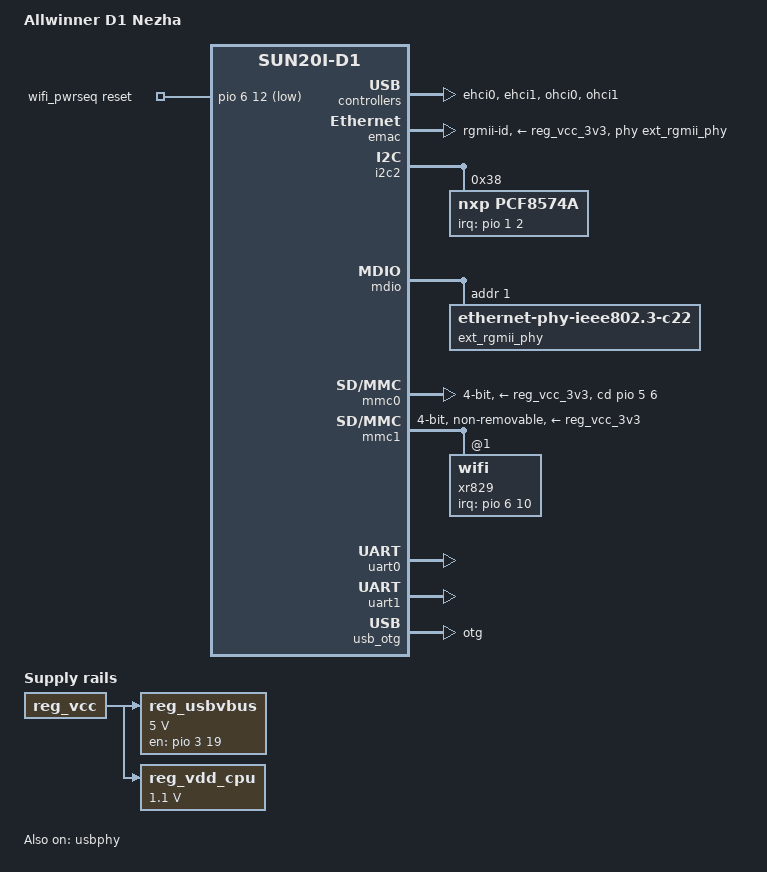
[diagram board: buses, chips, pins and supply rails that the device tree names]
// SPDX-License-Identifier: (GPL-2.0+ or MIT)
// Copyright (C) 2021-2022 Samuel Holland <samuel@sholland.org>

/*
 * gpio line names
 *
 * The Nezha-D1 has a 40-pin IO header. Some of these pins are routed
 * directly to pads on the SoC, others come from an 8-bit pcf857x IO
 * expander. Therefore, these line names are specified in two places:
 * one set for the pcf857x, and one set for the pio controller.
 *
 * Lines which are routed to the 40-pin header are named as follows:
 *	<pin#> [<pin name>]
 * where:
 *	<pin#>		is the actual pin number of the 40-pin header
 *	<pin name>	is the name of the pin by function/gpio#
 *
 * For details regarding pin numbers and names see the schematics (under
 * "IO EXPAND"):
 * http://dl.linux-sunxi.org/D1/D1_Nezha_development_board_schematic_diagram_20210224.pdf
 */

#include <dt-bindings/gpio/gpio.h>
#include <dt-bindings/input/input.h>

/dts-v1/;

#include "sun20i-d1.dtsi"
#include "sun20i-common-regulators.dtsi"

/ {
	model = "Allwinner D1 Nezha";
	compatible = "allwinner,d1-nezha", "allwinner,sun20i-d1";

	aliases {
		ethernet0 = &emac;
		ethernet1 = &xr829;
		serial0 = &uart0;
	};

	chosen {
		stdout-path = "serial0:115200n8";
	};

	reg_usbvbus: usbvbus {
		compatible = "regulator-fixed";
		regulator-name = "usbvbus";
		regulator-min-microvolt = <5000000>;
		regulator-max-microvolt = <5000000>;
		gpio = <&pio 3 19 GPIO_ACTIVE_HIGH>; /* PD19 */
		enable-active-high;
		vin-supply = <&reg_vcc>;
	};

	/*
	 * This regulator is PWM-controlled, but the PWM controller is not
	 * yet supported, so fix the regulator to its default voltage.
	 */
	reg_vdd_cpu: vdd-cpu {
		compatible = "regulator-fixed";
		regulator-name = "vdd-cpu";
		regulator-min-microvolt = <1100000>;
		regulator-max-microvolt = <1100000>;
		vin-supply = <&reg_vcc>;
	};

	wifi_pwrseq: wifi-pwrseq {
		compatible = "mmc-pwrseq-simple";
		reset-gpios = <&pio 6 12 GPIO_ACTIVE_LOW>; /* PG12 */
	};
};

&cpu0 {
	cpu-supply = <&reg_vdd_cpu>;
};

&dcxo {
	clock-frequency = <24000000>;
};

&ehci0 {
	status = "okay";
};

&ehci1 {
	status = "okay";
};

&emac {
	pinctrl-0 = <&rgmii_pe_pins>;
	pinctrl-names = "default";
	phy-handle = <&ext_rgmii_phy>;
	phy-mode = "rgmii-id";
	phy-supply = <&reg_vcc_3v3>;
	status = "okay";
};

&i2c2 {
	pinctrl-0 = <&i2c2_pb0_pins>;
	pinctrl-names = "default";
	status = "okay";

	pcf8574a: gpio@38 {
		compatible = "nxp,pcf8574a";
		reg = <0x38>;
		interrupt-parent = <&pio>;
		interrupts = <1 2 IRQ_TYPE_LEVEL_LOW>; /* PB2 */
		interrupt-controller;
		gpio-controller;
		#gpio-cells = <2>;
		#interrupt-cells = <2>;
		gpio-line-names =
			"pin13 [gpio8]",
			"pin16 [gpio10]",
			"pin18 [gpio11]",
			"pin26 [gpio17]",
			"pin22 [gpio14]",
			"pin28 [gpio19]",
			"pin37 [gpio23]",
			"pin11 [gpio6]";
	};
};

&mdio {
	ext_rgmii_phy: ethernet-phy@1 {
		compatible = "ethernet-phy-ieee802.3-c22";
		reg = <1>;
	};
};

&mmc0 {
	bus-width = <4>;
	cd-gpios = <&pio 5 6 GPIO_ACTIVE_HIGH>; /* PF6 */
	disable-wp;
	vmmc-supply = <&reg_vcc_3v3>;
	vqmmc-supply = <&reg_vcc_3v3>;
	pinctrl-0 = <&mmc0_pins>;
	pinctrl-names = "default";
	status = "okay";
};

&mmc1 {
	bus-width = <4>;
	mmc-pwrseq = <&wifi_pwrseq>;
	non-removable;
	vmmc-supply = <&reg_vcc_3v3>;
	vqmmc-supply = <&reg_vcc_3v3>;
	pinctrl-0 = <&mmc1_pins>;
	pinctrl-names = "default";
	status = "okay";

	xr829: wifi@1 {
		reg = <1>;
		interrupt-parent = <&pio>;
		interrupts = <6 10 IRQ_TYPE_LEVEL_LOW>; /* PG10 */
		interrupt-names = "host-wake";
	};
};

&ohci0 {
	status = "okay";
};

&ohci1 {
	status = "okay";
};

&uart0 {
	pinctrl-0 = <&uart0_pb8_pins>;
	pinctrl-names = "default";
	status = "okay";
};

&uart1 {
	uart-has-rtscts;
	pinctrl-0 = <&uart1_pg6_pins>, <&uart1_pg8_rts_cts_pins>;
	pinctrl-names = "default";
	status = "okay";

	/* XR829 bluetooth is connected here */
};

&usb_otg {
	dr_mode = "otg";
	status = "okay";
};

&usbphy {
	usb0_id_det-gpios = <&pio 3 21 GPIO_ACTIVE_HIGH>; /* PD21 */
	usb0_vbus_det-gpios = <&pio 3 20 GPIO_ACTIVE_HIGH>; /* PD20 */
	usb0_vbus-supply = <&reg_usbvbus>;
	usb1_vbus-supply = <&reg_vcc>;
	status = "okay";
};

&pio {
	gpio-line-names =
		/* Port A */
		"", "", "", "", "", "", "", "",
		"", "", "", "", "", "", "", "",
		"", "", "", "", "", "", "", "",
		"", "", "", "", "", "", "", "",
		/* Port B */
		"pin5 [gpio2/twi2-sck]",
		"pin3 [gpio1/twi2-sda]",
		"",
		"pin38 [gpio24/i2s2-din]",
		"pin40 [gpio25/i2s2-dout]",
		"pin12 [gpio7/i2s-clk]",
		"pin35 [gpio22/i2s2-lrck]",
		"",
		"pin8 [gpio4/uart0-txd]",
		"pin10 [gpio5/uart0-rxd]",
		"",
		"",
		"pin15 [gpio9]",
		"", "", "", "",
		"", "", "", "", "", "", "", "",
		"", "", "", "", "", "", "", "",
		/* Port C */
		"",
		"pin31 [gpio21]",
		"", "", "", "", "", "",
		"", "", "", "", "", "", "", "",
		"", "", "", "", "", "", "", "",
		"", "", "", "", "", "", "", "",
		/* Port D */
		"", "", "", "", "", "", "", "",
		"", "",
		"pin24 [gpio16/spi1-ce0]",
		"pin23 [gpio15/spi1-clk]",
		"pin19 [gpio12/spi1-mosi]",
		"pin21 [gpio13/spi1-miso]",
		"pin27 [gpio18/spi1-hold]",
		"pin29 [gpio20/spi1-wp]",
		"", "", "", "", "", "",
		"pin7 [gpio3/pwm]";
};
